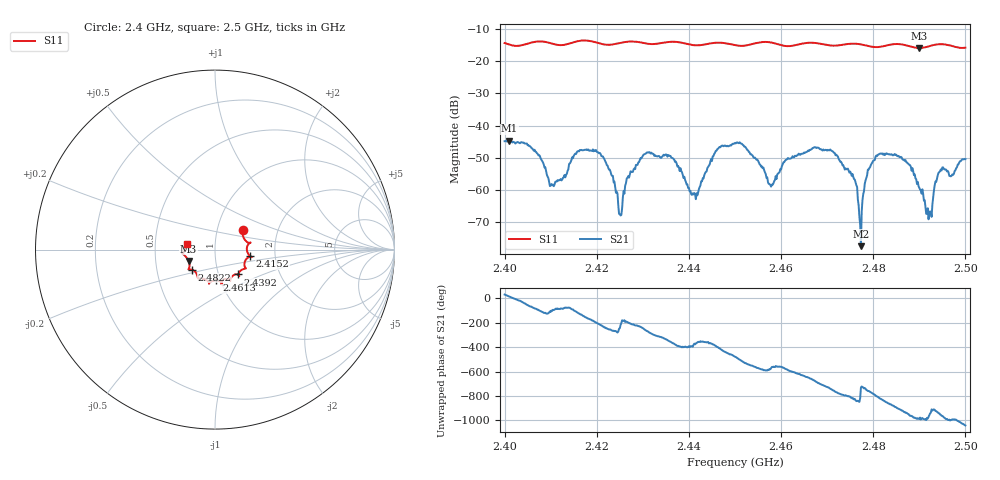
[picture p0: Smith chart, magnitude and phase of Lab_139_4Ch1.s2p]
# Hz S RI R 50
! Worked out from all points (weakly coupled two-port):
!   601 points, 2.4 GHz to 2.5 GHz, reference 50 ohm
!   highest |S21| = -44.61 dB at 2.401 GHz (marker M1); lowest = -77.3 dB at 2.4773 GHz (marker M2)
!   lowest |S11| = -15.9 dB at 2.49 GHz (marker M3), VSWR 1.38, Z = 36.9 - j4.82 ohm
!   |S11| at or under -10 dB: start of sweep to end of sweep
!   S12 and S22 are empty: the file has one direction only
!   S11 on the Smith chart (normalised r, x): 2.4 GHz: 1.33, +0.31; 2.4152 GHz: 1.48, -0.11; 2.4392 GHz: 1.23, -0.35; 2.4613 GHz: 0.96, -0.34; 2.4822 GHz: 0.76, -0.17; 2.5 GHz: 0.72, +0.05
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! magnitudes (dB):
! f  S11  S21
! 2.4 GHz  -14.4  -44.8
! 2.401 GHz  -14.8  -44.6
! 2.4103 GHz  -14.6  -58.5
! 2.4152 GHz  -14.1  -49.0
! 2.4167 GHz  -13.6  -47.5
! 2.4212 GHz  -14.7  -49.5
! 2.4252 GHz  -14.3  -67.8
! 2.4333 GHz  -14.5  -49.4
! 2.4392 GHz  -14.5  -56.8
! 2.45 GHz  -15.0  -45.3
! 2.4577 GHz  -14.2  -58.4
! 2.4613 GHz  -15.3  -50.3
! 2.4667 GHz  -14.3  -47.2
! 2.475 GHz  -14.6  -54.2
! 2.4773 GHz  -14.8  -77.3
! 2.4792 GHz  -15.4  -53.1
! 2.4822 GHz  -15.4  -49.0
! 2.4833 GHz  -15.0  -48.9
! 2.49 GHz  -15.9  -59.2
! 2.4922 GHz  -15.4  -66.8
! 2.4945 GHz  -14.7  -54.1
! 2.5 GHz  -15.8  -50.3
